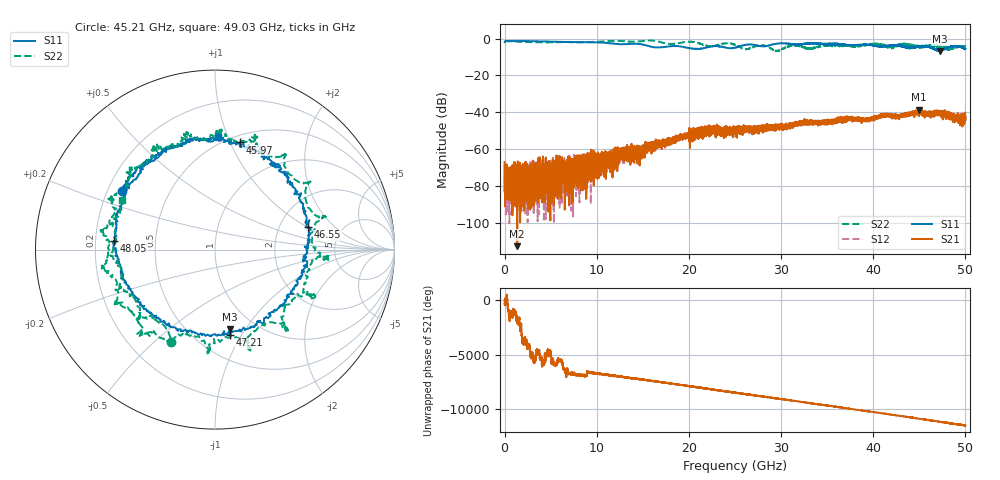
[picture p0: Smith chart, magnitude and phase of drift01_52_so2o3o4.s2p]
!Created with skrf (http://scikit-rf.org).
# Hz S RI R 50.0
!freq ReS11 ImS11 ReS21 ImS21 ReS12 ImS12 ReS22 ImS22
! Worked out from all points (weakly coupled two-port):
!   10001 points, 300 kHz to 50 GHz, reference 50 ohm
!   highest |S21| = -38.68 dB at 44.97 GHz (marker M1); lowest = -112.8 dB at 1.37 GHz (marker M2)
!   lowest |S11| = -6.9 dB at 47.21 GHz (marker M3), VSWR 2.65, Z = 38.2 - j42.8 ohm
!   |S11| at or under -10 dB: nowhere
!   |S22| runs from -6.9 to -1.1 dB; largest |S21 - S12| = 0.0047
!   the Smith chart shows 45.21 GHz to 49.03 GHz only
!   S11 on the Smith chart (normalised r, x): 45.21 GHz: 0.26, +0.27; 45.97 GHz: 0.57, +1.09; 46.55 GHz: 2.91, +1.01; 47.21 GHz: 0.72, -0.90; 48.05 GHz: 0.28, +0.04; 49.03 GHz: 0.44, +0.92
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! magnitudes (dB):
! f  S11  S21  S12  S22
! 300 kHz  -2.1  -67.1  -68.5  -1.3
! 255.3 MHz  -1.4  -75.4  -85.7  -1.4
! 1.37 GHz  -1.4  -112.8  -80.1  -1.7
! 6.175 GHz  -1.9  -75.6  -76.9  -1.9
! 8.335 GHz  -2.0  -73.5  -70.1  -2.1
! 16.67 GHz  -4.9  -57.2  -57.9  -1.6
! 21.64 GHz  -5.2  -49.7  -49.7  -3.5
! 25 GHz  -5.0  -49.9  -50.6  -3.4
! 28.12 GHz  -4.3  -49.4  -48.2  -3.9
! 29.51 GHz  -2.8  -48.6  -49.2  -6.6
! 31.26 GHz  -3.1  -48.6  -47.3  -3.9
! 33.34 GHz  -2.6  -45.5  -45.6  -5.6
! 41.67 GHz  -3.9  -41.7  -41.8  -4.7
! 44.97 GHz  -4.3  -38.7  -40.2  -4.0
! 45.21 GHz  -4.2  -40.5  -40.2  -4.9
! 45.97 GHz  -4.3  -42.2  -40.6  -4.0
! 46.55 GHz  -5.4  -39.9  -40.5  -3.9
! 47.21 GHz  -6.3  -41.1  -41.1  -4.8
! 47.21 GHz  -6.9  -40.3  -41.8  -4.9
! 48.05 GHz  -5.0  -41.8  -40.5  -5.8
! 49.03 GHz  -4.0  -44.5  -42.4  -4.6
! 50 GHz  -5.6  -44.0  -42.8  -4.3
